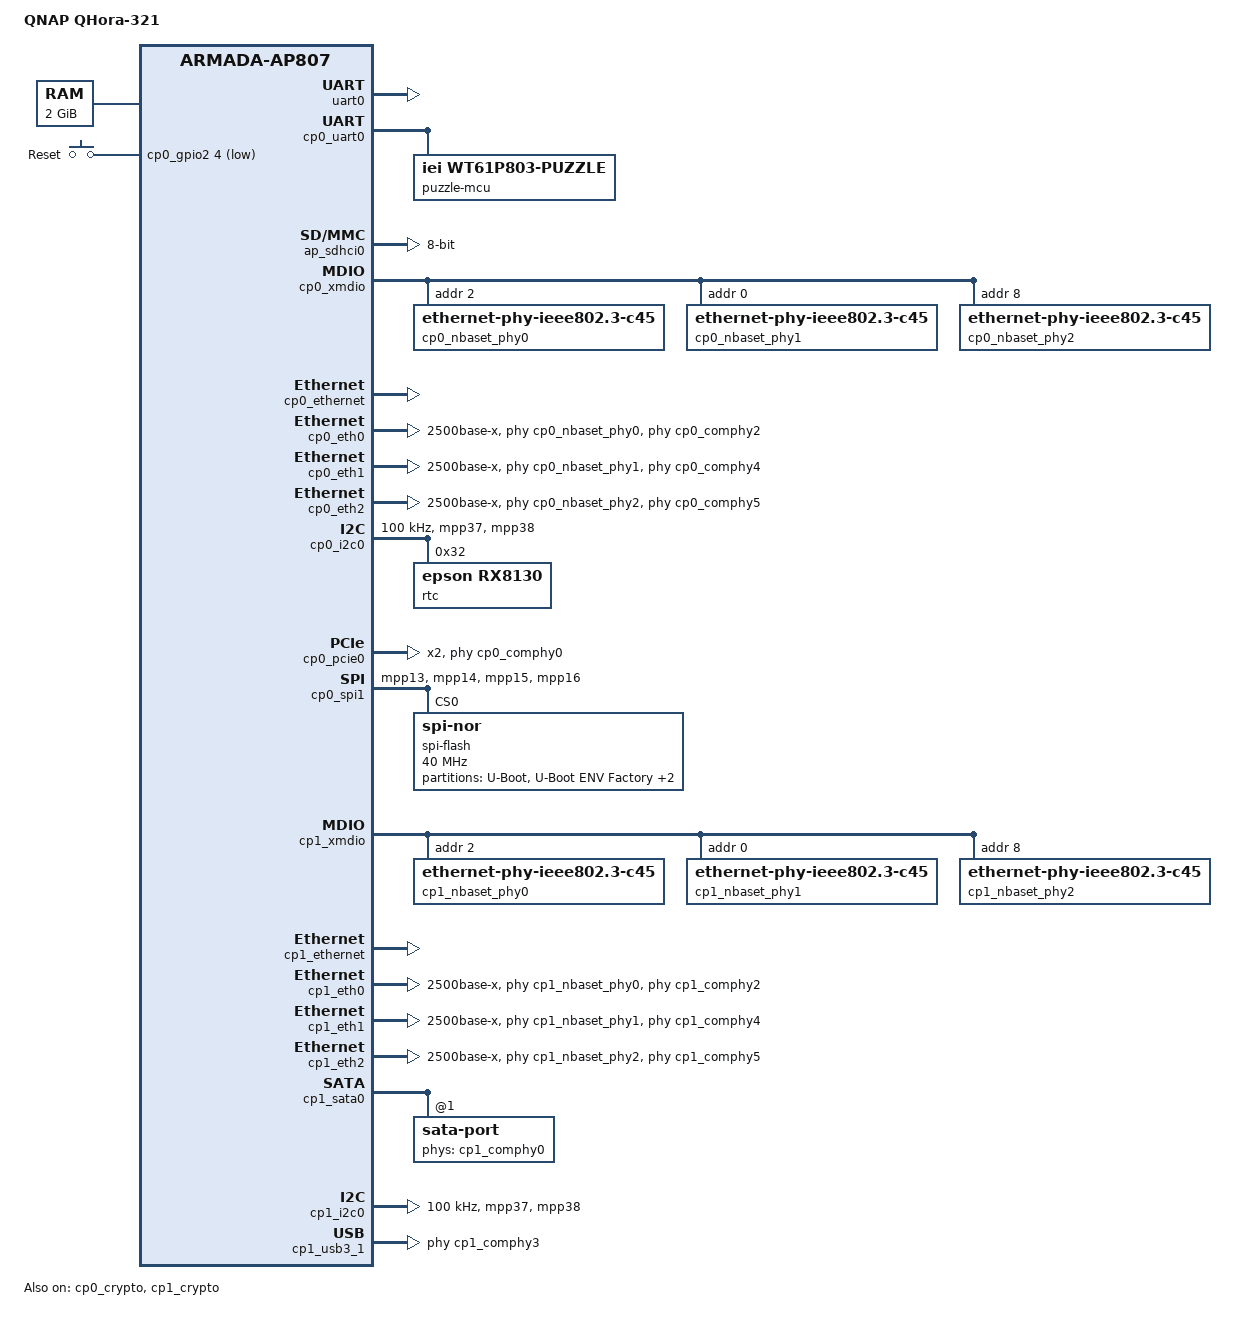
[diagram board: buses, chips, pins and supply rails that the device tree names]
// SPDX-License-Identifier: (GPL-2.0-or-later OR MIT)
/*
 * Copyright (C) 2019 Marvell International Ltd.
 *
 * Device tree for the CN9131-DB board.
 */

#include "cn9130.dtsi"

#include <dt-bindings/gpio/gpio.h>
#include <dt-bindings/input/input.h>

/ {
	model = "QNAP QHora-321";
	compatible = "qnap,qhora-321",
		     "marvell,armada-ap807-quad", "marvell,armada-ap807";

	chosen {
		stdout-path = "serial0:115200n8";
		bootargs-append = " root=/dev/mmcblk0p3";
	};

	aliases {
		i2c0 = &cp1_i2c0;
		i2c1 = &cp0_i2c0;
		ethernet0 = &cp0_eth0;
		ethernet1 = &cp0_eth1;
		ethernet2 = &cp0_eth2;
		ethernet3 = &cp1_eth0;
		ethernet4 = &cp1_eth1;
		ethernet5 = &cp1_eth2;
		gpio1 = &cp0_gpio1;
		gpio2 = &cp0_gpio2;
		gpio3 = &cp1_gpio1;
		gpio4 = &cp1_gpio2;
		led-boot = &led_power;
		led-failsafe = &led_info;
		led-running = &led_power;
		led-upgrade = &led_info;
	};

	memory@00000000 {
		device_type = "memory";
		reg = <0x0 0x0 0x0 0x80000000>;
	};

	gpio_keys {
		compatible = "gpio-keys";

		reset {
			label = "Reset";
			linux,code = <KEY_RESTART>;
			gpios = <&cp0_gpio2 4 GPIO_ACTIVE_LOW>;
		};
	};
};

&uart0 {
	status = "okay";
};

&cp0_uart0 {
	status = "okay";

	puzzle-mcu {
		compatible = "iei,wt61p803-puzzle";
		#address-cells = <1>;
		#size-cells = <1>;
		current-speed = <115200>;
		enable-beep;
		status = "okay";

		leds {
			compatible = "iei,wt61p803-puzzle-leds";
			#address-cells = <1>;
			#size-cells = <0>;
			status = "okay";

			led@0 {
				reg = <0>;
				label = "white:network";
				active-low;
			};

			led@1 {
				reg = <1>;
				label = "green:cloud";
				active-low;
			};

			led_info: led@2 {
				reg = <2>;
				label = "orange:info";
				active-low;
			};

			led_power: led@3 {
				reg = <3>;
				label = "yellow:power";
				active-low;
				default-state = "on";
			};
		};

		hwmon {
			compatible = "iei,wt61p803-puzzle-hwmon";
			#address-cells = <1>;
			#size-cells = <0>;

			chassis_fan_group0: fan-group@0 {
				#cooling-cells = <2>;
				reg = <0x00>;
				cooling-levels = <64 102 170 230 250>;
			};
		};
	};
};

&ap_thermal_cpu1 {
	trips {
		cpu_active: cpu-active {
			temperature = <44000>;
			hysteresis = <2000>;
			type = "active";
		};
	};
	cooling-maps {
		fan-map {
			trip = <&cpu_active>;
			cooling-device = <&chassis_fan_group0 64 THERMAL_NO_LIMIT>;
		};
	};
};

/* on-board eMMC - U9 */
&ap_sdhci0 {
	pinctrl-names = "default";
	bus-width = <8>;
	status = "okay";
	mmc-ddr-1_8v;
	mmc-hs400-1_8v;
};

&cp0_crypto {
	status = "okay";
};

&cp0_xmdio {
	status = "okay";
	cp0_nbaset_phy0: ethernet-phy@0 {
		compatible = "ethernet-phy-ieee802.3-c45";
		reg = <2>;
	};
	cp0_nbaset_phy1: ethernet-phy@1 {
		compatible = "ethernet-phy-ieee802.3-c45";
		reg = <0>;
	};
	cp0_nbaset_phy2: ethernet-phy@2 {
		compatible = "ethernet-phy-ieee802.3-c45";
		reg = <8>;
	};
};

&cp0_ethernet {
	status = "okay";
};

/* SLM-1521-V2, CON9 */
&cp0_eth0 {
	status = "okay";
	phy-mode = "2500base-x";
	phys = <&cp0_comphy2 0>;
	phy = <&cp0_nbaset_phy0>;
};

&cp0_eth1 {
	status = "okay";
	phy-mode = "2500base-x";
	phys = <&cp0_comphy4 1>;
	phy = <&cp0_nbaset_phy1>;
};

&cp0_eth2 {
	status = "okay";
	phy-mode = "2500base-x";
	phys = <&cp0_comphy5 2>;
	phy = <&cp0_nbaset_phy2>;
};

&cp0_gpio1 {
	status = "okay";
};

&cp0_gpio2 {
	status = "okay";
};

&cp0_i2c0 {
	pinctrl-names = "default";
	pinctrl-0 = <&cp0_i2c0_pins>;
	status = "okay";
	clock-frequency = <100000>;
	rtc@32 {
		compatible = "epson,rx8130";
		reg = <0x32>;
		wakeup-source;
	};
};

/* SLM-1521-V2, CON6 */
&cp0_pcie0 {
	status = "okay";
	num-lanes = <2>;
	num-viewport = <8>;
	phys = <&cp0_comphy0 0>, <&cp0_comphy1 0>;
};

/* U55 */
&cp0_spi1 {
	pinctrl-names = "default";
	pinctrl-0 = <&cp0_spi0_pins>;
	reg = <0x700680 0x50>,          /* control */
	      <0x2000000 0x1000000>;    /* CS0 */
	status = "okay";
	spi-flash@0 {
		#address-cells = <0x1>;
		#size-cells = <0x1>;
		compatible = "jedec,spi-nor";
		reg = <0x0>;
		spi-max-frequency = <40000000>;
		partitions {
			compatible = "fixed-partitions";
			#address-cells = <1>;
			#size-cells = <1>;
			partition@0 {
				label = "U-Boot";
				reg = <0x0 0x1f0000>;
			};
			partition@1f0000 {
				label = "U-Boot ENV Factory";
				reg = <0x1f0000 0x10000>;
			};
			partition@200000 {
				label = "Reserved";
				reg = <0x200000 0x1f0000>;
			};
			partition@3f0000 {
				label = "U-Boot ENV";
				reg = <0x3f0000 0x10000>;
			};
		};
	};
};

&cp0_syscon0 {
	cp0_pinctrl: pinctrl {
		compatible = "marvell,cp115-standalone-pinctrl";
		cp0_i2c0_pins: cp0-i2c-pins-0 {
			marvell,pins = "mpp37", "mpp38";
			marvell,function = "i2c0";
		};
		cp0_i2c1_pins: cp0-i2c-pins-1 {
			marvell,pins = "mpp35", "mpp36";
			marvell,function = "i2c1";
		};
		cp0_ge1_rgmii_pins: cp0-ge-rgmii-pins-0 {
			marvell,pins = "mpp0", "mpp1", "mpp2",
				       "mpp3", "mpp4", "mpp5",
				       "mpp6", "mpp7", "mpp8",
				       "mpp9", "mpp10", "mpp11";
			marvell,function = "ge0";
		};
		cp0_ge2_rgmii_pins: cp0-ge-rgmii-pins-1 {
			marvell,pins = "mpp44", "mpp45", "mpp46",
				       "mpp47", "mpp48", "mpp49",
				       "mpp50", "mpp51", "mpp52",
				       "mpp53", "mpp54", "mpp55";
			marvell,function = "ge1";
		};
		cp0_spi0_pins: cp0-spi-pins-0 {
			marvell,pins = "mpp13", "mpp14", "mpp15", "mpp16";
			marvell,function = "spi1";
		};
	};
};

/*
 * Instantiate the first connected CP115
 */

#define CP11X_NAME		cp1
#define CP11X_BASE		f6000000
#define CP11X_PCIEx_MEM_BASE(iface) (0xe2000000 + (iface * 0x1000000))
#define CP11X_PCIEx_MEM_SIZE(iface) 0xf00000
#define CP11X_PCIE0_BASE	f6600000
#define CP11X_PCIE1_BASE	f6620000
#define CP11X_PCIE2_BASE	f6640000

#include "armada-cp115.dtsi"

#undef CP11X_NAME
#undef CP11X_BASE
#undef CP11X_PCIEx_MEM_BASE
#undef CP11X_PCIEx_MEM_SIZE
#undef CP11X_PCIE0_BASE
#undef CP11X_PCIE1_BASE
#undef CP11X_PCIE2_BASE

&cp1_crypto {
	status = "okay";
};

&cp1_xmdio {
	status = "okay";
	cp1_nbaset_phy0: ethernet-phy@3 {
		compatible = "ethernet-phy-ieee802.3-c45";
		reg = <2>;
	};
	cp1_nbaset_phy1: ethernet-phy@4 {
		compatible = "ethernet-phy-ieee802.3-c45";
		reg = <0>;
	};
	cp1_nbaset_phy2: ethernet-phy@5 {
		compatible = "ethernet-phy-ieee802.3-c45";
		reg = <8>;
	};
};

&cp1_ethernet {
	status = "okay";
};

/* CON50 */
&cp1_eth0 {
	status = "okay";
	phy-mode = "2500base-x";
	phys = <&cp1_comphy2 0>;
	phy = <&cp1_nbaset_phy0>;
};

&cp1_eth1 {
	status = "okay";
	phy-mode = "2500base-x";
	phys = <&cp1_comphy4 1>;
	phy = <&cp1_nbaset_phy1>;
};

&cp1_eth2 {
	status = "okay";
	phy-mode = "2500base-x";
	phys = <&cp1_comphy5 2>;
	phy = <&cp1_nbaset_phy2>;
};

&cp1_sata0 {
	status = "okay";
	sata-port@1 {
		status = "okay";
		phys = <&cp1_comphy0 1>;
	};
};

&cp1_gpio1 {
	status = "okay";
};

&cp1_gpio2 {
	status = "okay";
};

&cp1_i2c0 {
	status = "okay";
	pinctrl-names = "default";
	pinctrl-0 = <&cp1_i2c0_pins>;
	clock-frequency = <100000>;
};

&cp1_syscon0 {
	cp1_pinctrl: pinctrl {
		compatible = "marvell,cp115-standalone-pinctrl";
		cp1_i2c0_pins: cp1-i2c-pins-0 {
			marvell,pins = "mpp37", "mpp38";
			marvell,function = "i2c0";
		};
		cp1_spi0_pins: cp1-spi-pins-0 {
			marvell,pins = "mpp13", "mpp14", "mpp15", "mpp16";
			marvell,function = "spi1";
		};
		cp1_xhci0_vbus_pins: cp1-xhci0-vbus-pins {
			marvell,pins = "mpp3";
			marvell,function = "gpio";
		};
		cp1_sfp_pins: sfp-pins {
			marvell,pins = "mpp8", "mpp9", "mpp10", "mpp11";
			marvell,function = "gpio";
		};
	};
};

&cp1_usb3_1 {
	status = "okay";
	phys = <&cp1_comphy3 1>;
	phy-names = "usb";
};
